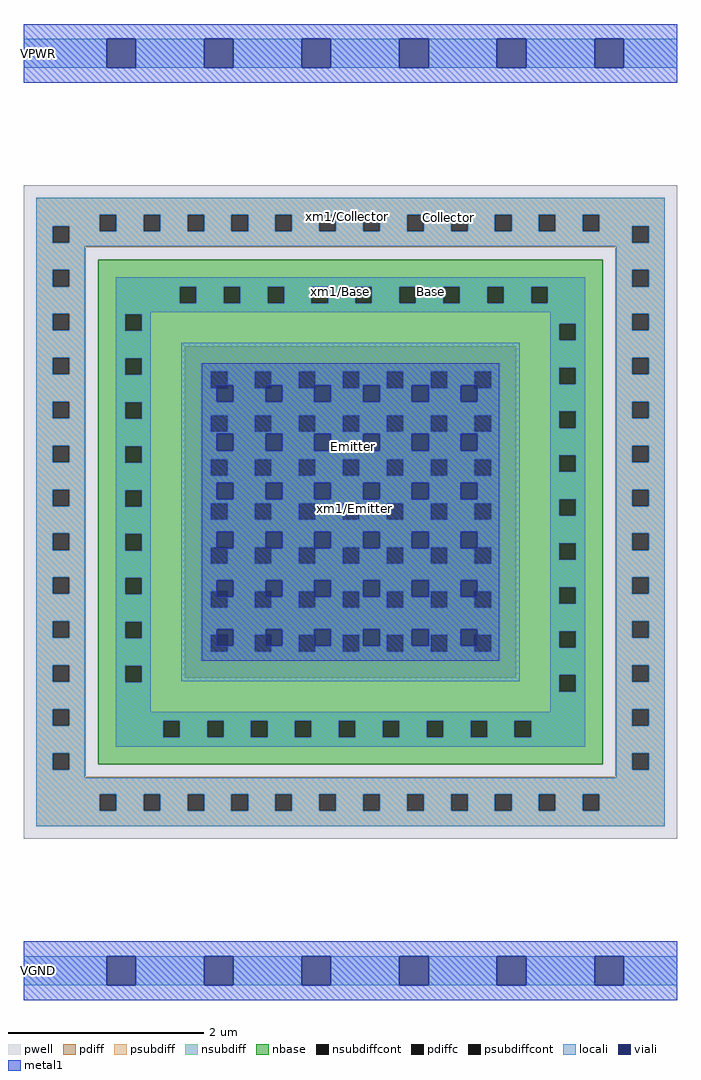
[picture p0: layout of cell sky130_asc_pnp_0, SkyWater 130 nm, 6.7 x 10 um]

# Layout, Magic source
magic
tech sky130A
magscale 1 2
<< pwell >>
rect 0 1457 1340 1610
rect 0 423 153 1457
rect 1187 423 1340 1457
rect 0 270 1340 423
<< nbase >>
rect 153 423 1187 1457
<< pdiff >>
rect 330 1228 1010 1280
rect 330 1194 384 1228
rect 418 1194 474 1228
rect 508 1194 564 1228
rect 598 1194 654 1228
rect 688 1194 744 1228
rect 778 1194 834 1228
rect 868 1194 924 1228
rect 958 1194 1010 1228
rect 330 1138 1010 1194
rect 330 1104 384 1138
rect 418 1104 474 1138
rect 508 1104 564 1138
rect 598 1104 654 1138
rect 688 1104 744 1138
rect 778 1104 834 1138
rect 868 1104 924 1138
rect 958 1104 1010 1138
rect 330 1048 1010 1104
rect 330 1014 384 1048
rect 418 1014 474 1048
rect 508 1014 564 1048
rect 598 1014 654 1048
rect 688 1014 744 1048
rect 778 1014 834 1048
rect 868 1014 924 1048
rect 958 1014 1010 1048
rect 330 958 1010 1014
rect 330 924 384 958
rect 418 924 474 958
rect 508 924 564 958
rect 598 924 654 958
rect 688 924 744 958
rect 778 924 834 958
rect 868 924 924 958
rect 958 924 1010 958
rect 330 868 1010 924
rect 330 834 384 868
rect 418 834 474 868
rect 508 834 564 868
rect 598 834 654 868
rect 688 834 744 868
rect 778 834 834 868
rect 868 834 924 868
rect 958 834 1010 868
rect 330 778 1010 834
rect 330 744 384 778
rect 418 744 474 778
rect 508 744 564 778
rect 598 744 654 778
rect 688 744 744 778
rect 778 744 834 778
rect 868 744 924 778
rect 958 744 1010 778
rect 330 688 1010 744
rect 330 654 384 688
rect 418 654 474 688
rect 508 654 564 688
rect 598 654 654 688
rect 688 654 744 688
rect 778 654 834 688
rect 868 654 924 688
rect 958 654 1010 688
rect 330 600 1010 654
<< pdiffc >>
rect 384 1194 418 1228
rect 474 1194 508 1228
rect 564 1194 598 1228
rect 654 1194 688 1228
rect 744 1194 778 1228
rect 834 1194 868 1228
rect 924 1194 958 1228
rect 384 1104 418 1138
rect 474 1104 508 1138
rect 564 1104 598 1138
rect 654 1104 688 1138
rect 744 1104 778 1138
rect 834 1104 868 1138
rect 924 1104 958 1138
rect 384 1014 418 1048
rect 474 1014 508 1048
rect 564 1014 598 1048
rect 654 1014 688 1048
rect 744 1014 778 1048
rect 834 1014 868 1048
rect 924 1014 958 1048
rect 384 924 418 958
rect 474 924 508 958
rect 564 924 598 958
rect 654 924 688 958
rect 744 924 778 958
rect 834 924 868 958
rect 924 924 958 958
rect 384 834 418 868
rect 474 834 508 868
rect 564 834 598 868
rect 654 834 688 868
rect 744 834 778 868
rect 834 834 868 868
rect 924 834 958 868
rect 384 744 418 778
rect 474 744 508 778
rect 564 744 598 778
rect 654 744 688 778
rect 744 744 778 778
rect 834 744 868 778
rect 924 744 958 778
rect 384 654 418 688
rect 474 654 508 688
rect 564 654 598 688
rect 654 654 688 688
rect 744 654 778 688
rect 834 654 868 688
rect 924 654 958 688
<< psubdiff >>
rect 26 1549 1314 1584
rect 26 1526 156 1549
rect 26 1492 60 1526
rect 94 1515 156 1526
rect 190 1515 246 1549
rect 280 1515 336 1549
rect 370 1515 426 1549
rect 460 1515 516 1549
rect 550 1515 606 1549
rect 640 1515 696 1549
rect 730 1515 786 1549
rect 820 1515 876 1549
rect 910 1515 966 1549
rect 1000 1515 1056 1549
rect 1090 1515 1146 1549
rect 1180 1526 1314 1549
rect 1180 1515 1247 1526
rect 94 1492 1247 1515
rect 1281 1492 1314 1526
rect 26 1483 1314 1492
rect 26 1436 127 1483
rect 26 1402 60 1436
rect 94 1402 127 1436
rect 1213 1436 1314 1483
rect 26 1346 127 1402
rect 26 1312 60 1346
rect 94 1312 127 1346
rect 26 1256 127 1312
rect 26 1222 60 1256
rect 94 1222 127 1256
rect 26 1166 127 1222
rect 26 1132 60 1166
rect 94 1132 127 1166
rect 26 1076 127 1132
rect 26 1042 60 1076
rect 94 1042 127 1076
rect 26 986 127 1042
rect 26 952 60 986
rect 94 952 127 986
rect 26 896 127 952
rect 26 862 60 896
rect 94 862 127 896
rect 26 806 127 862
rect 26 772 60 806
rect 94 772 127 806
rect 26 716 127 772
rect 26 682 60 716
rect 94 682 127 716
rect 26 626 127 682
rect 26 592 60 626
rect 94 592 127 626
rect 26 536 127 592
rect 26 502 60 536
rect 94 502 127 536
rect 26 446 127 502
rect 1213 1402 1247 1436
rect 1281 1402 1314 1436
rect 1213 1346 1314 1402
rect 1213 1312 1247 1346
rect 1281 1312 1314 1346
rect 1213 1256 1314 1312
rect 1213 1222 1247 1256
rect 1281 1222 1314 1256
rect 1213 1166 1314 1222
rect 1213 1132 1247 1166
rect 1281 1132 1314 1166
rect 1213 1076 1314 1132
rect 1213 1042 1247 1076
rect 1281 1042 1314 1076
rect 1213 986 1314 1042
rect 1213 952 1247 986
rect 1281 952 1314 986
rect 1213 896 1314 952
rect 1213 862 1247 896
rect 1281 862 1314 896
rect 1213 806 1314 862
rect 1213 772 1247 806
rect 1281 772 1314 806
rect 1213 716 1314 772
rect 1213 682 1247 716
rect 1281 682 1314 716
rect 1213 626 1314 682
rect 1213 592 1247 626
rect 1281 592 1314 626
rect 1213 536 1314 592
rect 1213 502 1247 536
rect 1281 502 1314 536
rect 26 412 60 446
rect 94 412 127 446
rect 26 397 127 412
rect 1213 446 1314 502
rect 1213 412 1247 446
rect 1281 412 1314 446
rect 1213 397 1314 412
rect 26 362 1314 397
rect 26 328 156 362
rect 190 328 246 362
rect 280 328 336 362
rect 370 328 426 362
rect 460 328 516 362
rect 550 328 606 362
rect 640 328 696 362
rect 730 328 786 362
rect 820 328 876 362
rect 910 328 966 362
rect 1000 328 1056 362
rect 1090 328 1146 362
rect 1180 328 1314 362
rect 26 296 1314 328
<< nsubdiff >>
rect 189 1402 1151 1421
rect 189 1368 320 1402
rect 354 1368 410 1402
rect 444 1368 500 1402
rect 534 1368 590 1402
rect 624 1368 680 1402
rect 714 1368 770 1402
rect 804 1368 860 1402
rect 894 1368 950 1402
rect 984 1368 1040 1402
rect 1074 1368 1151 1402
rect 189 1349 1151 1368
rect 189 1345 261 1349
rect 189 1311 208 1345
rect 242 1311 261 1345
rect 189 1255 261 1311
rect 1079 1326 1151 1349
rect 1079 1292 1098 1326
rect 1132 1292 1151 1326
rect 189 1221 208 1255
rect 242 1221 261 1255
rect 189 1165 261 1221
rect 189 1131 208 1165
rect 242 1131 261 1165
rect 189 1075 261 1131
rect 189 1041 208 1075
rect 242 1041 261 1075
rect 189 985 261 1041
rect 189 951 208 985
rect 242 951 261 985
rect 189 895 261 951
rect 189 861 208 895
rect 242 861 261 895
rect 189 805 261 861
rect 189 771 208 805
rect 242 771 261 805
rect 189 715 261 771
rect 189 681 208 715
rect 242 681 261 715
rect 189 625 261 681
rect 189 591 208 625
rect 242 591 261 625
rect 1079 1236 1151 1292
rect 1079 1202 1098 1236
rect 1132 1202 1151 1236
rect 1079 1146 1151 1202
rect 1079 1112 1098 1146
rect 1132 1112 1151 1146
rect 1079 1056 1151 1112
rect 1079 1022 1098 1056
rect 1132 1022 1151 1056
rect 1079 966 1151 1022
rect 1079 932 1098 966
rect 1132 932 1151 966
rect 1079 876 1151 932
rect 1079 842 1098 876
rect 1132 842 1151 876
rect 1079 786 1151 842
rect 1079 752 1098 786
rect 1132 752 1151 786
rect 1079 696 1151 752
rect 1079 662 1098 696
rect 1132 662 1151 696
rect 1079 606 1151 662
rect 189 531 261 591
rect 1079 572 1098 606
rect 1132 572 1151 606
rect 1079 531 1151 572
rect 189 512 1151 531
rect 189 478 286 512
rect 320 478 376 512
rect 410 478 466 512
rect 500 478 556 512
rect 590 478 646 512
rect 680 478 736 512
rect 770 478 826 512
rect 860 478 916 512
rect 950 478 1006 512
rect 1040 478 1151 512
rect 189 459 1151 478
<< psubdiffcont >>
rect 60 1492 94 1526
rect 156 1515 190 1549
rect 246 1515 280 1549
rect 336 1515 370 1549
rect 426 1515 460 1549
rect 516 1515 550 1549
rect 606 1515 640 1549
rect 696 1515 730 1549
rect 786 1515 820 1549
rect 876 1515 910 1549
rect 966 1515 1000 1549
rect 1056 1515 1090 1549
rect 1146 1515 1180 1549
rect 1247 1492 1281 1526
rect 60 1402 94 1436
rect 60 1312 94 1346
rect 60 1222 94 1256
rect 60 1132 94 1166
rect 60 1042 94 1076
rect 60 952 94 986
rect 60 862 94 896
rect 60 772 94 806
rect 60 682 94 716
rect 60 592 94 626
rect 60 502 94 536
rect 1247 1402 1281 1436
rect 1247 1312 1281 1346
rect 1247 1222 1281 1256
rect 1247 1132 1281 1166
rect 1247 1042 1281 1076
rect 1247 952 1281 986
rect 1247 862 1281 896
rect 1247 772 1281 806
rect 1247 682 1281 716
rect 1247 592 1281 626
rect 1247 502 1281 536
rect 60 412 94 446
rect 1247 412 1281 446
rect 156 328 190 362
rect 246 328 280 362
rect 336 328 370 362
rect 426 328 460 362
rect 516 328 550 362
rect 606 328 640 362
rect 696 328 730 362
rect 786 328 820 362
rect 876 328 910 362
rect 966 328 1000 362
rect 1056 328 1090 362
rect 1146 328 1180 362
<< nsubdiffcont >>
rect 320 1368 354 1402
rect 410 1368 444 1402
rect 500 1368 534 1402
rect 590 1368 624 1402
rect 680 1368 714 1402
rect 770 1368 804 1402
rect 860 1368 894 1402
rect 950 1368 984 1402
rect 1040 1368 1074 1402
rect 208 1311 242 1345
rect 1098 1292 1132 1326
rect 208 1221 242 1255
rect 208 1131 242 1165
rect 208 1041 242 1075
rect 208 951 242 985
rect 208 861 242 895
rect 208 771 242 805
rect 208 681 242 715
rect 208 591 242 625
rect 1098 1202 1132 1236
rect 1098 1112 1132 1146
rect 1098 1022 1132 1056
rect 1098 932 1132 966
rect 1098 842 1132 876
rect 1098 752 1132 786
rect 1098 662 1132 696
rect 1098 572 1132 606
rect 286 478 320 512
rect 376 478 410 512
rect 466 478 500 512
rect 556 478 590 512
rect 646 478 680 512
rect 736 478 770 512
rect 826 478 860 512
rect 916 478 950 512
rect 1006 478 1040 512
<< locali >>
rect 0 1850 170 1910
rect 230 1850 370 1910
rect 430 1850 570 1910
rect 630 1850 770 1910
rect 830 1850 970 1910
rect 1030 1850 1170 1910
rect 1230 1850 1340 1910
rect 26 1549 1314 1584
rect 26 1526 156 1549
rect 26 1492 60 1526
rect 94 1515 156 1526
rect 190 1515 246 1549
rect 280 1515 336 1549
rect 370 1515 426 1549
rect 460 1515 516 1549
rect 550 1515 606 1549
rect 640 1515 696 1549
rect 730 1515 786 1549
rect 820 1515 876 1549
rect 910 1515 966 1549
rect 1000 1515 1056 1549
rect 1090 1515 1146 1549
rect 1180 1526 1314 1549
rect 1180 1515 1247 1526
rect 94 1492 1247 1515
rect 1281 1492 1314 1526
rect 26 1485 1314 1492
rect 26 1436 125 1485
rect 26 1402 60 1436
rect 94 1402 125 1436
rect 1215 1436 1314 1485
rect 26 1346 125 1402
rect 26 1312 60 1346
rect 94 1312 125 1346
rect 26 1256 125 1312
rect 26 1222 60 1256
rect 94 1222 125 1256
rect 26 1166 125 1222
rect 26 1132 60 1166
rect 94 1132 125 1166
rect 26 1076 125 1132
rect 26 1042 60 1076
rect 94 1042 125 1076
rect 26 986 125 1042
rect 26 952 60 986
rect 94 952 125 986
rect 26 896 125 952
rect 26 862 60 896
rect 94 862 125 896
rect 26 806 125 862
rect 26 772 60 806
rect 94 772 125 806
rect 26 716 125 772
rect 26 682 60 716
rect 94 682 125 716
rect 26 626 125 682
rect 26 592 60 626
rect 94 592 125 626
rect 26 536 125 592
rect 26 502 60 536
rect 94 502 125 536
rect 26 446 125 502
rect 189 1402 1151 1421
rect 189 1368 320 1402
rect 354 1368 410 1402
rect 444 1368 500 1402
rect 534 1368 590 1402
rect 624 1368 680 1402
rect 714 1368 770 1402
rect 804 1368 860 1402
rect 894 1368 950 1402
rect 984 1368 1040 1402
rect 1074 1368 1151 1402
rect 189 1349 1151 1368
rect 189 1345 261 1349
rect 189 1311 208 1345
rect 242 1311 261 1345
rect 189 1255 261 1311
rect 1079 1326 1151 1349
rect 1079 1292 1098 1326
rect 1132 1292 1151 1326
rect 189 1221 208 1255
rect 242 1221 261 1255
rect 189 1165 261 1221
rect 189 1131 208 1165
rect 242 1131 261 1165
rect 189 1075 261 1131
rect 189 1041 208 1075
rect 242 1041 261 1075
rect 189 985 261 1041
rect 189 951 208 985
rect 242 951 261 985
rect 189 895 261 951
rect 189 861 208 895
rect 242 861 261 895
rect 189 805 261 861
rect 189 771 208 805
rect 242 771 261 805
rect 189 715 261 771
rect 189 681 208 715
rect 242 681 261 715
rect 189 625 261 681
rect 189 591 208 625
rect 242 591 261 625
rect 323 1228 1017 1287
rect 323 1194 384 1228
rect 418 1200 474 1228
rect 508 1200 564 1228
rect 598 1200 654 1228
rect 430 1194 474 1200
rect 530 1194 564 1200
rect 630 1194 654 1200
rect 688 1200 744 1228
rect 688 1194 696 1200
rect 323 1166 396 1194
rect 430 1166 496 1194
rect 530 1166 596 1194
rect 630 1166 696 1194
rect 730 1194 744 1200
rect 778 1200 834 1228
rect 778 1194 796 1200
rect 730 1166 796 1194
rect 830 1194 834 1200
rect 868 1200 924 1228
rect 868 1194 896 1200
rect 958 1194 1017 1228
rect 830 1166 896 1194
rect 930 1166 1017 1194
rect 323 1138 1017 1166
rect 323 1104 384 1138
rect 418 1104 474 1138
rect 508 1104 564 1138
rect 598 1104 654 1138
rect 688 1104 744 1138
rect 778 1104 834 1138
rect 868 1104 924 1138
rect 958 1104 1017 1138
rect 323 1100 1017 1104
rect 323 1066 396 1100
rect 430 1066 496 1100
rect 530 1066 596 1100
rect 630 1066 696 1100
rect 730 1066 796 1100
rect 830 1066 896 1100
rect 930 1066 1017 1100
rect 323 1048 1017 1066
rect 323 1014 384 1048
rect 418 1014 474 1048
rect 508 1014 564 1048
rect 598 1014 654 1048
rect 688 1014 744 1048
rect 778 1014 834 1048
rect 868 1014 924 1048
rect 958 1014 1017 1048
rect 323 1000 1017 1014
rect 323 966 396 1000
rect 430 966 496 1000
rect 530 966 596 1000
rect 630 966 696 1000
rect 730 966 796 1000
rect 830 966 896 1000
rect 930 966 1017 1000
rect 323 958 1017 966
rect 323 924 384 958
rect 418 924 474 958
rect 508 924 564 958
rect 598 924 654 958
rect 688 924 744 958
rect 778 924 834 958
rect 868 924 924 958
rect 958 924 1017 958
rect 323 900 1017 924
rect 323 868 396 900
rect 430 868 496 900
rect 530 868 596 900
rect 630 868 696 900
rect 323 834 384 868
rect 430 866 474 868
rect 530 866 564 868
rect 630 866 654 868
rect 418 834 474 866
rect 508 834 564 866
rect 598 834 654 866
rect 688 866 696 868
rect 730 868 796 900
rect 730 866 744 868
rect 688 834 744 866
rect 778 866 796 868
rect 830 868 896 900
rect 930 868 1017 900
rect 830 866 834 868
rect 778 834 834 866
rect 868 866 896 868
rect 868 834 924 866
rect 958 834 1017 868
rect 323 800 1017 834
rect 323 778 396 800
rect 430 778 496 800
rect 530 778 596 800
rect 630 778 696 800
rect 323 744 384 778
rect 430 766 474 778
rect 530 766 564 778
rect 630 766 654 778
rect 418 744 474 766
rect 508 744 564 766
rect 598 744 654 766
rect 688 766 696 778
rect 730 778 796 800
rect 730 766 744 778
rect 688 744 744 766
rect 778 766 796 778
rect 830 778 896 800
rect 930 778 1017 800
rect 830 766 834 778
rect 778 744 834 766
rect 868 766 896 778
rect 868 744 924 766
rect 958 744 1017 778
rect 323 700 1017 744
rect 323 688 396 700
rect 430 688 496 700
rect 530 688 596 700
rect 630 688 696 700
rect 323 654 384 688
rect 430 666 474 688
rect 530 666 564 688
rect 630 666 654 688
rect 418 654 474 666
rect 508 654 564 666
rect 598 654 654 666
rect 688 666 696 688
rect 730 688 796 700
rect 730 666 744 688
rect 688 654 744 666
rect 778 666 796 688
rect 830 688 896 700
rect 930 688 1017 700
rect 830 666 834 688
rect 778 654 834 666
rect 868 666 896 688
rect 868 654 924 666
rect 958 654 1017 688
rect 323 593 1017 654
rect 1079 1236 1151 1292
rect 1079 1202 1098 1236
rect 1132 1202 1151 1236
rect 1079 1146 1151 1202
rect 1079 1112 1098 1146
rect 1132 1112 1151 1146
rect 1079 1056 1151 1112
rect 1079 1022 1098 1056
rect 1132 1022 1151 1056
rect 1079 966 1151 1022
rect 1079 932 1098 966
rect 1132 932 1151 966
rect 1079 876 1151 932
rect 1079 842 1098 876
rect 1132 842 1151 876
rect 1079 786 1151 842
rect 1079 752 1098 786
rect 1132 752 1151 786
rect 1079 696 1151 752
rect 1079 662 1098 696
rect 1132 662 1151 696
rect 1079 606 1151 662
rect 189 531 261 591
rect 1079 572 1098 606
rect 1132 572 1151 606
rect 1079 531 1151 572
rect 189 512 1151 531
rect 189 478 286 512
rect 320 478 376 512
rect 410 478 466 512
rect 500 478 556 512
rect 590 478 646 512
rect 680 478 736 512
rect 770 478 826 512
rect 860 478 916 512
rect 950 478 1006 512
rect 1040 478 1151 512
rect 189 459 1151 478
rect 1215 1402 1247 1436
rect 1281 1402 1314 1436
rect 1215 1346 1314 1402
rect 1215 1312 1247 1346
rect 1281 1312 1314 1346
rect 1215 1256 1314 1312
rect 1215 1222 1247 1256
rect 1281 1222 1314 1256
rect 1215 1166 1314 1222
rect 1215 1132 1247 1166
rect 1281 1132 1314 1166
rect 1215 1076 1314 1132
rect 1215 1042 1247 1076
rect 1281 1042 1314 1076
rect 1215 986 1314 1042
rect 1215 952 1247 986
rect 1281 952 1314 986
rect 1215 896 1314 952
rect 1215 862 1247 896
rect 1281 862 1314 896
rect 1215 806 1314 862
rect 1215 772 1247 806
rect 1281 772 1314 806
rect 1215 716 1314 772
rect 1215 682 1247 716
rect 1281 682 1314 716
rect 1215 626 1314 682
rect 1215 592 1247 626
rect 1281 592 1314 626
rect 1215 536 1314 592
rect 1215 502 1247 536
rect 1281 502 1314 536
rect 26 412 60 446
rect 94 412 125 446
rect 26 395 125 412
rect 1215 446 1314 502
rect 1215 412 1247 446
rect 1281 412 1314 446
rect 1215 395 1314 412
rect 26 362 1314 395
rect 26 328 156 362
rect 190 328 246 362
rect 280 328 336 362
rect 370 328 426 362
rect 460 328 516 362
rect 550 328 606 362
rect 640 328 696 362
rect 730 328 786 362
rect 820 328 876 362
rect 910 328 966 362
rect 1000 328 1056 362
rect 1090 328 1146 362
rect 1180 328 1314 362
rect 26 296 1314 328
rect 0 -30 170 30
rect 230 -30 370 30
rect 430 -30 570 30
rect 630 -30 770 30
rect 830 -30 970 30
rect 1030 -30 1170 30
rect 1230 -30 1340 30
<< viali >>
rect 170 1850 230 1910
rect 370 1850 430 1910
rect 570 1850 630 1910
rect 770 1850 830 1910
rect 970 1850 1030 1910
rect 1170 1850 1230 1910
rect 396 1194 418 1200
rect 418 1194 430 1200
rect 496 1194 508 1200
rect 508 1194 530 1200
rect 596 1194 598 1200
rect 598 1194 630 1200
rect 396 1166 430 1194
rect 496 1166 530 1194
rect 596 1166 630 1194
rect 696 1166 730 1200
rect 796 1166 830 1200
rect 896 1194 924 1200
rect 924 1194 930 1200
rect 896 1166 930 1194
rect 396 1066 430 1100
rect 496 1066 530 1100
rect 596 1066 630 1100
rect 696 1066 730 1100
rect 796 1066 830 1100
rect 896 1066 930 1100
rect 396 966 430 1000
rect 496 966 530 1000
rect 596 966 630 1000
rect 696 966 730 1000
rect 796 966 830 1000
rect 896 966 930 1000
rect 396 868 430 900
rect 496 868 530 900
rect 596 868 630 900
rect 396 866 418 868
rect 418 866 430 868
rect 496 866 508 868
rect 508 866 530 868
rect 596 866 598 868
rect 598 866 630 868
rect 696 866 730 900
rect 796 866 830 900
rect 896 868 930 900
rect 896 866 924 868
rect 924 866 930 868
rect 396 778 430 800
rect 496 778 530 800
rect 596 778 630 800
rect 396 766 418 778
rect 418 766 430 778
rect 496 766 508 778
rect 508 766 530 778
rect 596 766 598 778
rect 598 766 630 778
rect 696 766 730 800
rect 796 766 830 800
rect 896 778 930 800
rect 896 766 924 778
rect 924 766 930 778
rect 396 688 430 700
rect 496 688 530 700
rect 596 688 630 700
rect 396 666 418 688
rect 418 666 430 688
rect 496 666 508 688
rect 508 666 530 688
rect 596 666 598 688
rect 598 666 630 688
rect 696 666 730 700
rect 796 666 830 700
rect 896 688 930 700
rect 896 666 924 688
rect 924 666 930 688
rect 170 -30 230 30
rect 370 -30 430 30
rect 570 -30 630 30
rect 770 -30 830 30
rect 970 -30 1030 30
rect 1170 -30 1230 30
<< metal1 >>
rect 0 1910 1340 1940
rect 0 1850 170 1910
rect 230 1850 370 1910
rect 430 1850 570 1910
rect 630 1850 770 1910
rect 830 1850 970 1910
rect 1030 1850 1170 1910
rect 1230 1850 1340 1910
rect 0 1820 1340 1850
rect 365 1200 975 1245
rect 365 1166 396 1200
rect 430 1166 496 1200
rect 530 1166 596 1200
rect 630 1166 696 1200
rect 730 1166 796 1200
rect 830 1166 896 1200
rect 930 1166 975 1200
rect 365 1100 975 1166
rect 365 1066 396 1100
rect 430 1066 496 1100
rect 530 1066 596 1100
rect 630 1066 696 1100
rect 730 1066 796 1100
rect 830 1066 896 1100
rect 930 1066 975 1100
rect 365 1000 975 1066
rect 365 966 396 1000
rect 430 966 496 1000
rect 530 966 596 1000
rect 630 966 696 1000
rect 730 966 796 1000
rect 830 966 896 1000
rect 930 966 975 1000
rect 365 900 975 966
rect 365 866 396 900
rect 430 866 496 900
rect 530 866 596 900
rect 630 866 696 900
rect 730 866 796 900
rect 830 866 896 900
rect 930 866 975 900
rect 365 800 975 866
rect 365 766 396 800
rect 430 766 496 800
rect 530 766 596 800
rect 630 766 696 800
rect 730 766 796 800
rect 830 766 896 800
rect 930 766 975 800
rect 365 700 975 766
rect 365 666 396 700
rect 430 666 496 700
rect 530 666 596 700
rect 630 666 696 700
rect 730 666 796 700
rect 830 666 896 700
rect 930 666 975 700
rect 365 635 975 666
rect 0 30 1340 60
rect 0 -30 170 30
rect 230 -30 370 30
rect 430 -30 570 30
rect 630 -30 770 30
rect 830 -30 970 30
rect 1030 -30 1170 30
rect 1230 -30 1340 30
rect 0 -60 1340 -30
<< labels >>
flabel locali 810 1524 930 1564 1 FreeSans 480 0 0 0 Collector
port 3 n default bidirectional
flabel locali 774 1372 894 1412 1 FreeSans 480 0 0 0 Base
port 2 n default bidirectional
flabel locali 562 1010 790 1140 1 FreeSans 480 0 0 0 Emitter
port 1 n default bidirectional
flabel metal1 0 1850 60 1910 1 FreeSans 800 0 0 0 VPWR
port 4 n power bidirectional
flabel metal1 0 -30 60 30 1 FreeSans 800 0 0 0 VGND
port 5 n ground bidirectional
flabel locali 554 896 802 1000 0 FreeSans 400 0 0 0 xm1/Emitter
flabel locali 613 1522 714 1571 0 FreeSans 400 0 0 0 xm1/Collector
flabel locali 590 1372 708 1412 0 FreeSans 400 0 0 0 xm1/Base
<< properties >>
string FIXED_BBOX 0 0 1340 1880
string LEFclass CORE
string LEFsite unitasc
<< end >>
